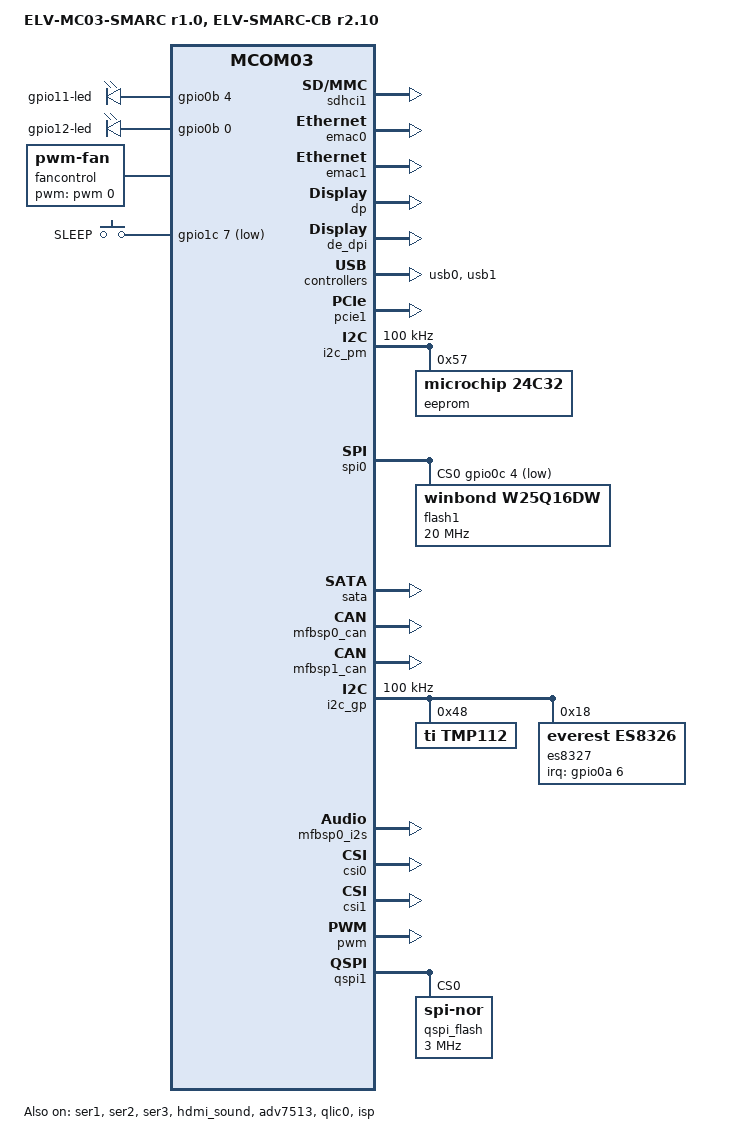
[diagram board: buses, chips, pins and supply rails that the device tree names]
// SPDX-License-Identifier: GPL-2.0+
/*
 * Copyright 2023 RnD Center "ELVEES", JSC
 */

/dts-v1/;

#include <dt-bindings/gpio/gpio.h>

#include "mcom03-elvmc03smarc-r1.0.dtsi"

/ {
	model = "ELV-MC03-SMARC r1.0, ELV-SMARC-CB r2.10";
	compatible = "elvees,elvmc03smarc-r1.0-elvsmarccb-r2.10",
		     "elvees,elvmc03smarc-elvsmarccb",
		     "elvees,elvsmarccb-r2.10",
		     "elvees,elvsmarccb",
		     "elvees,elvmc03smarc-r1.0",
		     "elvees,elvmc03smarc",
		     "elvees,mcom03";

	aliases {
		i2c5 = &i2c_cam0;
		i2c6 = &i2c_cam1;
	};

	elvsmarccb-leds {
		compatible = "gpio-leds";

		gpio11-led {
			gpios = <&gpio0b 4 GPIO_ACTIVE_HIGH>;
			default-state = "off";
		};

		gpio12-led {
			gpios = <&gpio0b 0 GPIO_ACTIVE_HIGH>;
			default-state = "off";
		};
	};

	chosen {
		stdout-path = "serial0:115200n8";
		bootargs = "earlycon console=ttyS0,115200";
	};

	elvmc03smarc-leds {
		/* red led uses GPIO0_PORTC3 that required for SPI0 */
		/delete-node/ red;
	};

	/*
	 * One 4-pin PWM controlled fan can be used, but tachometer signal is GPIO6
	 * (connects to GPIO1_D6 on MCom-03), which does not support interrupts.
	 * No RPM info from tachometer for now.
	*/
	fancontrol: pwm-fan {
		compatible = "pwm-fan";
		pwms = <&pwm 0 40000 0>;
		#cooling-cells = <2>;
		cooling-levels = <0 102 180 230>;
	};

	elvsmarccb-keys {
		compatible = "gpio-keys-polled";
		poll-interval = <100>;
		autorepeat;

		pinctrl-0 = <&sleep_button_default>;
		pinctrl-names = "default";

		sleep {
			gpios = <&gpio1c 7 GPIO_ACTIVE_LOW>;
			label = "SLEEP";
			linux,code = <KEY_SLEEP>;
		};
	};

	elvsmarccb_asound {
		compatible = "simple-audio-card";
		simple-audio-card,name = "analog-audio";
		simple-audio-card,format = "i2s";
		simple-audio-card,bitclock-master = <&dailink1_master>;
		simple-audio-card,frame-master = <&dailink1_master>;
		simple-audio-card,continuous-clock;

		dailink1_master: simple-audio-card,cpu {
				sound-dai = <&mfbsp0_i2s>;
		};

		simple-audio-card,codec {
				sound-dai = <&es8327>;
		};
	};
};

&sdhci1 {
	status = "okay";

	/* Disable 1.8V support
	 * Disable SDR50, SDR104 and DDR50 support
	 */
	sdhci-caps-mask = <0x7 0x4000000>;
	sdhci-caps = <0x0 0x0>;

	/* SDIO_WP is not connected to SMARC connector XS1 */
	disable-wp;
};

&sdhci1_default {
	/* The default clock pad drive strength of 6 mA is insufficient
	 * for some ELV-SMARC-CBs resulting in unstable SDMMC performance
	 */
	clk {
		pins = "SDMMC1_CLK";
		drive-strength = <8>;
	};
};

/* Connects to debug USB Type-C port */
&ser1 {
	status = "okay";
};

/* Connects to XP6 RPi header */
&ser2 {
	status = "okay";
};

/* Connects to XP15 */
&ser3 {
	status = "okay";
};

&emac0 {
	status = "okay";
};

&emac1 {
	status = "okay";
};

/* The board has a video output interface */
&dp {
	status = "okay";
};

&hdmi_sound {
	status = "okay";
};

/* Connected to HDMI plug */
&adv7513 {
	status = "okay";
};

&de_dpi {
	status = "okay";
};

&usb0 {
	status = "okay";
};

/* Connected to USB 2.0 hub */
&usb1 {
	status = "okay";
};

&pcie1 {
	status = "okay";
};

&i2c_pm {
	status = "okay";
	// not tested to work on 400k
	clock-frequency = <100000>;

	eeprom@57 {
		compatible = "microchip,24c32", "atmel,24c32";
		reg = <0x57>;
	};
};

&spi0 {
	status = "okay";
	num-cs = <2>;
	cs-gpios = <&gpio0c 4 GPIO_ACTIVE_LOW>, <&gpio0c 5 GPIO_ACTIVE_LOW>;

	flash1: w25q128jw@0 {
			#address-cells = <1>;
			#size-cells = <1>;
			compatible = "winbond,w25q16dw", "jedec,spi-nor";
			spi-max-frequency = <20000000>;
			reg = <0x0>;
	};
};

/* Connected to SATA plug */
&sata {
	status = "okay";
};

/* Connected to XP5 socket through CAN transceiver */
&mfbsp0_can {
	status = "okay";
};

/* Connected to XP5 socket through CAN transceiver */
&mfbsp1_can {
	status = "okay";
};

&qlic0 {
	status = "okay";
};

&i2c_gp {
	status = "okay";
	// not tested to work on 400k
	clock-frequency = <100000>;

	tmp112: sensor@48 {
		compatible = "ti,tmp112";
		reg = <0x48>;
	};

	es8327: codec@18 {
		compatible = "everest,es8326";
		reg = <0x18>;

		interrupt-parent = <&gpio0a>;
		interrupts = <6 IRQ_TYPE_EDGE_RISING>;

		clocks = <&audio_mclk>;
		clock-names = "mclk";
		#sound-dai-cells = <0>;
		everest,mic1-src = [22];
		everest,mic2-src = [44];
		everest,jack-pol = [0e];
		everest,interrupt-src = [08];
		everest,interrupt-clk = [45];
	};
};

/* SMARC S38-42 (I2S0*) pins connected to mfbsp0 */
&mfbsp0_i2s {
	status = "okay";
};

&isp {
	status = "okay";
};

&csi0 {
	status = "okay";
};

&csi1 {
	status = "okay";
};

&pwm {
		status = "okay";
		elvees,output-channel = <0 0 0 0>;
		elvees,state-on-disable = <1 0 0 0>;

		pinctrl-names = "default";
		pinctrl-0 = <&pwm_oena0_mux>;
};

/*
 * Upon reaching the trip point the thermal subsystem driver enables the fans.
 *
 * Thermal zones can be enabled/disabled via sysfs by writing said state into
 * the corresponding /sys/class/thermal/thermal_zoneX/mode file.
 */
&cpu_thermal {
	cooling_maps: cooling-maps {
		map0 {
			trip = <&cpu_alert0>;
			cooling-device = <&fancontrol
					  THERMAL_NO_LIMIT
					  THERMAL_NO_LIMIT>;
		};
	};
};

&lsperiph1_pinctrl {
	sleep_button_default: sleep-button-cfg {
		pins = "GPIOC_7";
		input-enable;
	};
};

&audio_mclk {
	status = "okay";
};

&qspi1 {
	status = "okay";

	qspi_flash: spi-nor@0 {
		#address-cells = <1>;
		#size-cells = <1>;
		compatible = "jedec,spi-nor", "spi-flash";
		reg = <0x0>;
		/* Highest frequency for IC installed into socket */
		spi-max-frequency = <3000000>;
		m25p,fast-read;
	};
};

&qspi1_default {
	/* Max clock frequency is 1 MHz with default pad drive strength.
	 * This value increases max clock frequency to 3 MHz */
	clk {
		drive-strength = <10>;
	};
};
